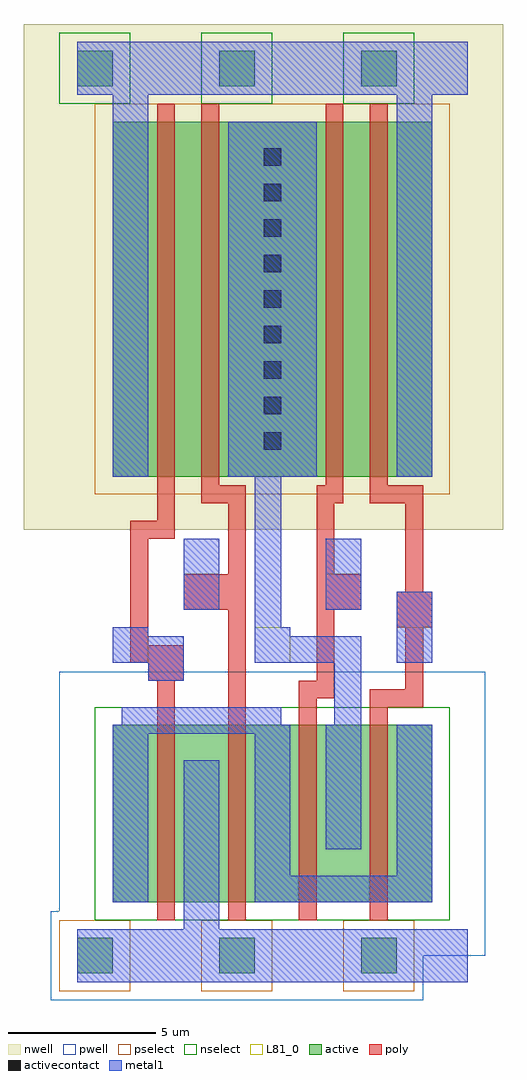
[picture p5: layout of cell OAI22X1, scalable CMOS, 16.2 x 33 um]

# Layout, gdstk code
import gdstk
lib = gdstk.Library(unit=1e-6, precision=1e-09)
def R(c, l, rs):  # rectangles x0, y0, x1, y1
    for r in rs: c.add(gdstk.rectangle(r[:2], r[2:], *l))
def A(c, l, x, y, w, h, nx, ny, dx, dy):  # array of equal rectangles
    R(c, l, [(x+i*dx, y+j*dy, x+i*dx+w, y+j*dy+h) for i in range(nx) for j in range(ny)])
pwell = (41, 0)
nwell = (42, 0)
active = (43, 0)
pselect = (44, 0)
nselect = (45, 0)
poly = (46, 0)
activecontact = (48, 0)
metal1 = (49, 0)
L81_0 = (81, 0)

oai22x1 = lib.new_cell('OAI22X1')
R(oai22x1, pwell, [(-1.5,-1.5,11.1,0), (-1.5,0,13.2,1.5), (-1.2,1.5,13.2,9.6)])
R(oai22x1, nwell, [(-2.4,14.4,13.8,31.5)])
A(oai22x1, active, -0.6, -0.6, 1.2, 1.2, 3, 2, 4.8, 30)
R(oai22x1, active, [(0.6,1.8,11.4,7.8), (0.6,16.2,11.4,28.2)])
A(oai22x1, pselect, -1.2, -1.2, 2.4, 2.4, 3, 1, 4.8, 0)
R(oai22x1, pselect, [(0,15.6,12,28.8)])
A(oai22x1, nselect, -1.2, 28.8, 2.4, 2.4, 3, 1, 4.8, 0)
R(oai22x1, nselect, [(0,1.2,12,8.4)])
R(oai22x1, poly, [(2.1,1.2,2.7,9.3), (4.5,1.2,5.1,11.7), (6.9,1.2,7.5,8.7), (9.3,1.2,9.9,8.4), (9.3,8.4,11.1,9), (6.9,8.7,8.1,9.3), (10.5,9,11.1,11.1), (1.8,9.3,3,9.9), (7.5,9.3,8.1,11.7), (1.2,9.9,3,10.5), (1.2,10.5,1.8,14.1), (10.2,11.1,11.4,12.3), (3,11.7,5.1,12.9), (7.5,11.7,9,12.9), (10.5,12.3,11.1,15.3), (4.5,12.9,5.1,15.3), (7.5,12.9,8.1,15.3), (1.2,14.1,2.7,14.7), (2.1,14.7,2.7,28.8), (3.6,15.3,5.1,15.9), (7.5,15.3,8.4,15.9), (9.3,15.3,11.1,15.9), (3.6,15.9,4.2,28.8), (7.8,15.9,8.4,28.8), (9.3,15.9,9.9,28.8)])
A(oai22x1, activecontact, 5.7, 17.1, 0.6, 0.6, 1, 9, 0, 1.2)
R(oai22x1, metal1, [(-0.6,-0.9,12.6,0.9), (3,0.9,4.2,6.6), (0.6,1.8,1.8,7.5), (5.4,1.8,11.4,2.7), (5.4,2.7,6.6,7.5), (10.2,2.7,11.4,7.8), (7.8,3.6,9,7.8), (0.6,7.5,6.6,7.8), (0.9,7.8,6.3,8.4), (8.1,7.8,9,9.9), (1.8,9.3,3,9.9), (0.6,9.9,3,10.8), (5.4,9.9,9,10.8), (10.2,9.9,11.4,12.3), (0.6,10.8,1.8,11.1), (5.4,10.8,6.6,11.1), (5.4,11.1,6.3,16.2), (3,11.7,4.2,14.1), (7.8,11.7,9,14.1), (0.6,16.2,1.8,29.1), (4.5,16.2,7.5,28.2), (10.2,16.2,11.4,29.1), (-0.6,29.1,12.6,30.9)])
A(oai22x1, L81_0, 0.6, 9.9, 1.2, 1.2, 3, 1, 4.8, 0)
R(oai22x1, L81_0, [(3,12.9,4.2,14.1), (7.8,12.9,9,14.1)])

lib.write_gds('OAI22X1.gds')
